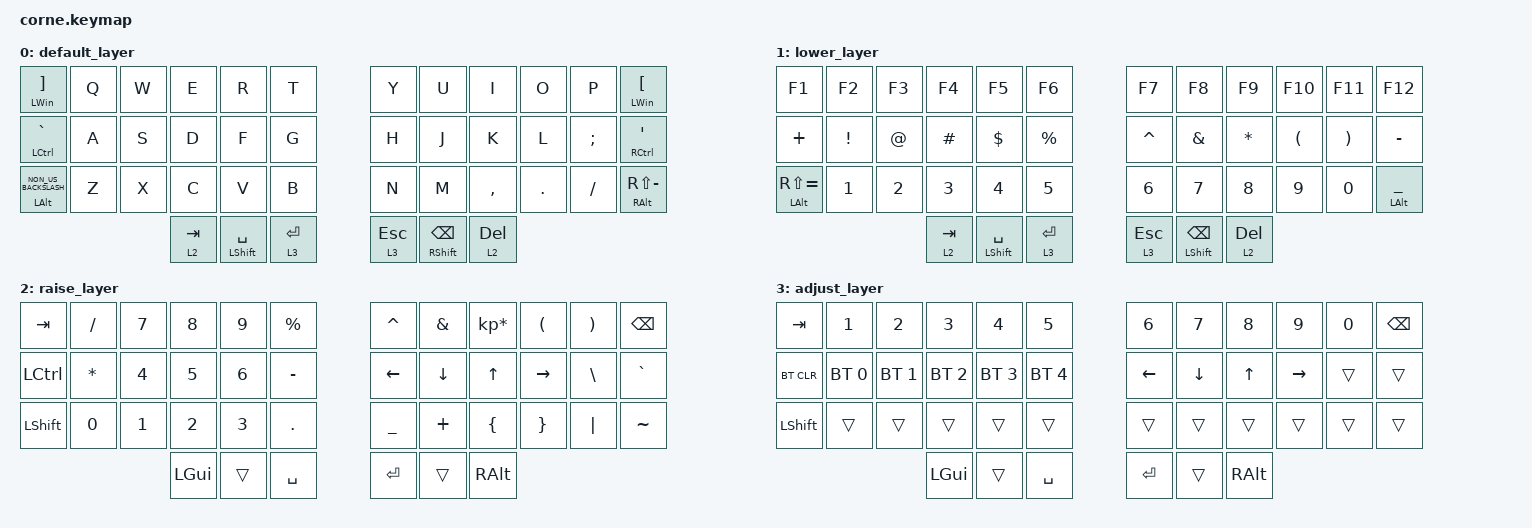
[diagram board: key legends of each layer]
/*
 * Copyright (c) 2020 The ZMK Contributors
 *
 * SPDX-License-Identifier: MIT
 */

#include <behaviors.dtsi>
#include <dt-bindings/zmk/bt.h>
#include <dt-bindings/zmk/keys.h>

/ {
    keymap {
        compatible = "zmk,keymap";

        default_layer {
            // -----------------------------------------------------------------------------------------
            // |  TAB |  Q  |  W  |  E  |  R  |  T  |   |  Y  |  U   |  I  |  O  |  P  | BKSP |
            // | CTRL |  A  |  S  |  D  |  F  |  G  |   |  H  |  J   |  K  |  L  |  ;  |  '   |
            // | SHFT |  Z  |  X  |  C  |  V  |  B  |   |  N  |  M   |  ,  |  .  |  /  | ESC  |
            //                    | GUI | LWR | SPC |   | ENT | RSE  | ALT |

            bindings = <
&mt LEFT_WIN RIGHT_BRACKET     &kp Q  &kp W  &kp E      &kp R                 &kp T          &kp Y      &kp U                      &kp I         &kp O    &kp P     &mt LEFT_WIN LEFT_BRACKET
&mt LCTRL GRAVE                &kp A  &kp S  &kp D      &kp F                 &kp G          &kp H      &kp J                      &kp K         &kp L    &kp SEMI  &mt RCTRL SQT
&mt LEFT_ALT NON_US_BACKSLASH  &kp Z  &kp X  &kp C      &kp V                 &kp B          &kp N      &kp M                      &kp COMMA     &kp DOT  &kp FSLH  &mt RIGHT_ALT RS(MINUS)
                                             &lt 2 TAB  &mt LEFT_SHIFT SPACE  &lt 3 ENTER    &lt 3 ESC  &mt RIGHT_SHIFT BACKSPACE  &lt 2 DELETE
            >;
        };

        lower_layer {
            bindings = <
&kp F1                  &kp F2    &kp F3  &kp F4     &kp F5                &kp F6         &kp F7     &kp F8                    &kp F9     &kp F10   &kp F11   &kp F12
&kp PLUS                &kp EXCL  &kp AT  &kp POUND  &kp DLLR              &kp PRCNT      &kp CARET  &kp AMPS                  &kp STAR   &kp LPAR  &kp RPAR  &kp MINUS
&mt LEFT_ALT RS(EQUAL)  &kp N1    &kp N2  &kp N3     &kp N4                &kp N5         &kp N6     &kp N7                    &kp N8     &kp N9    &kp N0    &mt LEFT_ALT UNDERSCORE
                                          &lt 2 TAB  &mt LEFT_SHIFT SPACE  &lt 3 ENTER    &lt 3 ESC  &mt LEFT_SHIFT BACKSPACE  &lt 2 DEL
            >;
        };

        raise_layer {
            // -----------------------------------------------------------------------------------------
            // |  TAB |  !  |  @  |  #  |  $  |  %  |   |  ^  |  &  |  *  |  (  |  )  | BKSP |
            // | CTRL |     |     |     |     |     |   |  -  |  =  |  [  |  ]  |  \  |  `   |
            // | SHFT |     |     |     |     |     |   |  _  |  +  |  {  |  }  | "|" |  ~   |
            //                    | GUI |     | SPC |   | ENT |     | ALT |

            bindings = <
&kp TAB    &kp FSLH  &kp N7  &kp N8    &kp N9  &kp PRCNT    &kp CARET  &kp AMPS  &kp KP_MULTIPLY  &kp LPAR   &kp RPAR  &kp BSPC
&kp LCTRL  &kp STAR  &kp N4  &kp N5    &kp N6  &kp MINUS    &kp LEFT   &kp DOWN  &kp UP           &kp RIGHT  &kp BSLH  &kp GRAVE
&kp LSHFT  &kp N0    &kp N1  &kp N2    &kp N3  &kp DOT      &kp UNDER  &kp PLUS  &kp LBRC         &kp RBRC   &kp PIPE  &kp TILDE
                             &kp LGUI  &trans  &kp SPACE    &kp RET    &trans    &kp RALT
            >;
        };

        adjust_layer {
            // -----------------------------------------------------------------------------------------
            // |  TAB |  1  |  2  |  3  |  4  |  5  |   |  6  |  7  |  8  |  9  |  0  | BKSP |
            // | BTCLR| BT1 | BT2 | BT3 | BT4 | BT5 |   | LFT | DWN |  UP | RGT |     |      |
            // | SHFT |     |     |     |     |     |   |     |     |     |     |     |      |
            //                    | GUI |     | SPC |   | ENT |     | ALT |

            bindings = <
&kp TAB     &kp N1        &kp N2        &kp N3        &kp N4        &kp N5          &kp N6    &kp N7    &kp N8    &kp N9     &kp N0  &kp BSPC
&bt BT_CLR  &bt BT_SEL 0  &bt BT_SEL 1  &bt BT_SEL 2  &bt BT_SEL 3  &bt BT_SEL 4    &kp LEFT  &kp DOWN  &kp UP    &kp RIGHT  &trans  &trans
&kp LSHFT   &trans        &trans        &trans        &trans        &trans          &trans    &trans    &trans    &trans     &trans  &trans
                                        &kp LGUI      &trans        &kp SPACE       &kp RET   &trans    &kp RALT
            >;
        };
    };
};
